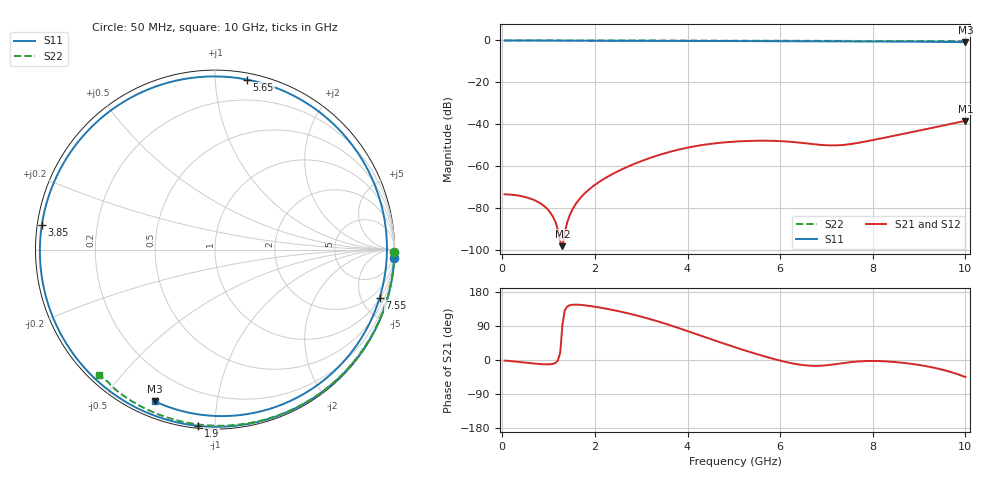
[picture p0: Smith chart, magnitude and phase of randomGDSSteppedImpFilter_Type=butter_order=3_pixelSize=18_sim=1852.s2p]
! freq	dB(S11)	phase(S11)	dB(S12)	phase(S12)
!  dB(S21)	phase(S21)	dB(S22)	phase(S22)
!S-par simulation data
#  GHz  S  DB  R 50
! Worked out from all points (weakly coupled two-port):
!   200 points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, 50 MHz to 10 GHz, reference 50 ohm
!   highest |S21| = -38.44 dB at 10 GHz (marker M1); lowest = -98.3 dB at 1.3 GHz (marker M2)
!   lowest |S11| = -0.8 dB at 10 GHz (marker M3), VSWR 21.11, Z = 3.45 - j33.8 ohm
!   |S11| at or under -10 dB: nowhere
!   |S22| runs from -0.5 to 0.0 dB; largest |S21 - S12| = 0
!   S11 on the Smith chart (normalised r, x): 50 MHz: 0, -44; 1.9 GHz: 0.01, -0.91; 3.85 GHz: 0.01, +0.07; 5.65 GHz: 0.04, +1.20; 7.55 GHz: 1.08, -6.76; 10 GHz: 0.07, -0.68
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0.05  -0.00 -2.6  -73.55 -1.7  -73.55 -1.7  -0.00 -0.8
0.6  -0.03 -31.0  -75.54 -8.3  -75.54 -8.3  -0.01 -9.2
0.95  -0.06 -48.8  -80.06 -11.5  -80.06 -11.5  -0.02 -14.5
1.3  -0.08 -66.2  -98.32 94.5  -98.32 94.5  -0.02 -19.8
1.55  -0.10 -78.5  -79.42 146.1  -79.42 146.1  -0.03 -23.6
1.75  -0.11 -88.2  -73.76 144.8  -73.76 144.8  -0.03 -26.5
1.9  -0.12 -95.4  -70.73 142.4  -70.73 142.4  -0.04 -28.8
2.25  -0.14 -112.1  -65.44 135.2  -65.44 135.2  -0.04 -33.9
2.6  -0.15 -128.6  -61.42 126.4  -61.42 126.4  -0.05 -39.0
3  -0.18 -147.5  -57.69 114.4  -57.69 114.4  -0.06 -44.8
3.4  -0.20 -166.4  -54.64 100.4  -54.64 100.4  -0.07 -50.5
3.85  -0.22 172.0  -51.96 82.6  -51.96 82.6  -0.08 -56.8
4.4  -0.26 144.7  -49.72 59.3  -49.72 59.3  -0.09 -64.4
5.05  -0.29 111.2  -48.31 32.6  -48.31 32.6  -0.11 -73.1
5.65  -0.32 79.4  -47.91 10.0  -47.91 10.0  -0.13 -80.9
6.15  -0.33 52.8  -48.31 -6.1  -48.31 -6.1  -0.15 -87.2
6.7  -0.35 24.3  -49.53 -15.3  -49.53 -15.3  -0.18 -94.1
7.1  -0.37 4.6  -50.15 -12.5  -50.15 -12.5  -0.20 -99.0
7.55  -0.39 -16.4  -49.42 -5.3  -49.42 -5.3  -0.23 -104.4
8.35  -0.47 -50.4  -46.05 -4.1  -46.05 -4.1  -0.29 -113.9
9.15  -0.61 -81.0  -42.39 -16.3  -42.39 -16.3  -0.36 -123.2
10  -0.82 -111.7  -38.44 -45.0  -38.44 -45.0  -0.45 -132.7
